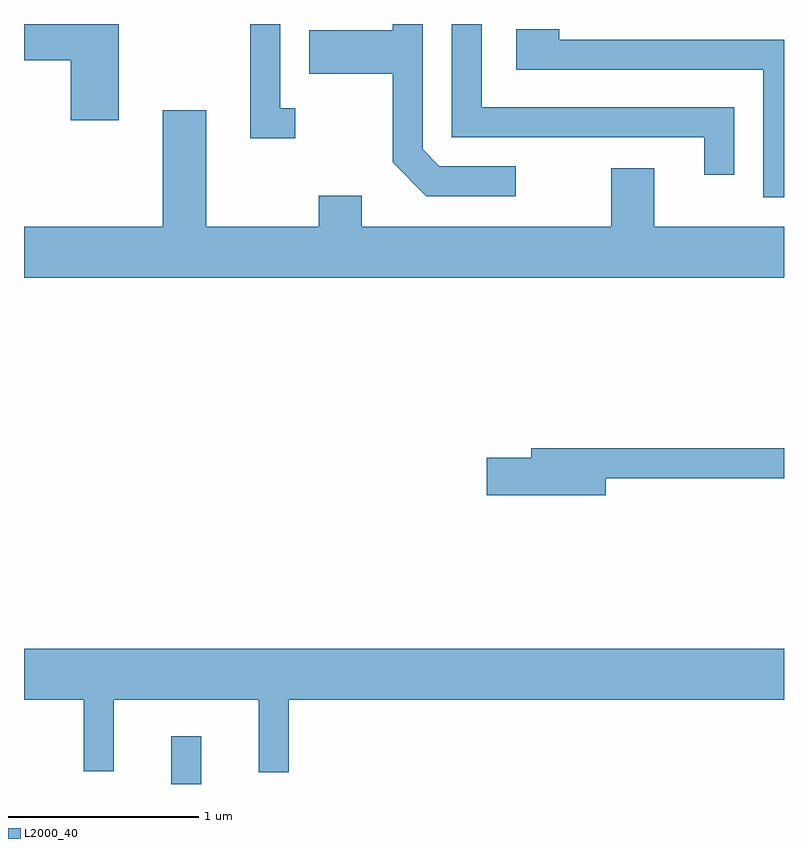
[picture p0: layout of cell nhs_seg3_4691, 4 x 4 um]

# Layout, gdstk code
import gdstk
lib = gdstk.Library(unit=1e-6, precision=1e-09)
def R(c, l, rs):  # rectangles x0, y0, x1, y1
    for r in rs: c.add(gdstk.rectangle(r[:2], r[2:], *l))
def P(c, l, *ps):  # polygons
    for p in ps: c.add(gdstk.Polygon(p, *l))
L2000_40 = (2000, 40)

nhs_seg3_4691 = lib.new_cell('nhs_seg3_4691')
R(nhs_seg3_4691, L2000_40, [(322.386,1249.892,322.544,1250.143)])
P(nhs_seg3_4691, L2000_40, [(323.038,1253.449),(322.959,1253.449),(322.959,1253.892),(322.801,1253.892),(322.801,1253.291),(323.038,1253.291)],
  [(324.198,1253.144),(323.797,1253.144),(323.709,1253.232),(323.709,1253.892),(323.551,1253.892),(323.551,1253.859),(323.111,1253.859),(323.111,1253.631),(323.551,1253.631),(323.551,1253.164),(323.729,1252.986),(324.198,1252.986)],
  [(325.349,1253.454),(324.019,1253.454),(324.019,1253.892),(323.861,1253.892),(323.861,1253.296),(325.191,1253.296),(325.191,1253.098),(325.349,1253.098)],
  [(322.109,1253.892),(321.611,1253.892),(321.611,1253.701),(321.856,1253.701),(321.856,1253.386),(322.109,1253.386)],
  [(325.611,1253.809),(324.429,1253.809),(324.429,1253.864),(324.201,1253.864),(324.201,1253.651),(325.501,1253.651),(325.501,1252.981),(325.611,1252.981)],
  [(325.611,1252.824),(324.929,1252.824),(324.929,1253.134),(324.701,1253.134),(324.701,1252.824),(323.389,1252.824),(323.389,1252.989),(323.161,1252.989),(323.161,1252.824),(322.569,1252.824),(322.569,1253.439),(322.341,1253.439),(322.341,1252.824),(321.611,1252.824),(321.611,1252.556),(325.611,1252.556)],
  [(324.674,1251.501),(325.611,1251.501),(325.611,1251.659),(324.281,1251.659),(324.281,1251.609),(324.046,1251.609),(324.046,1251.411),(324.674,1251.411)],
  [(323.004,1250.336),(325.611,1250.336),(325.611,1250.604),(321.611,1250.604),(321.611,1250.336),(321.926,1250.336),(321.926,1249.958),(322.084,1249.958),(322.084,1250.336),(322.846,1250.336),(322.846,1249.953),(323.004,1249.953)])

lib.write_gds('nhs_seg3_4691.gds')
